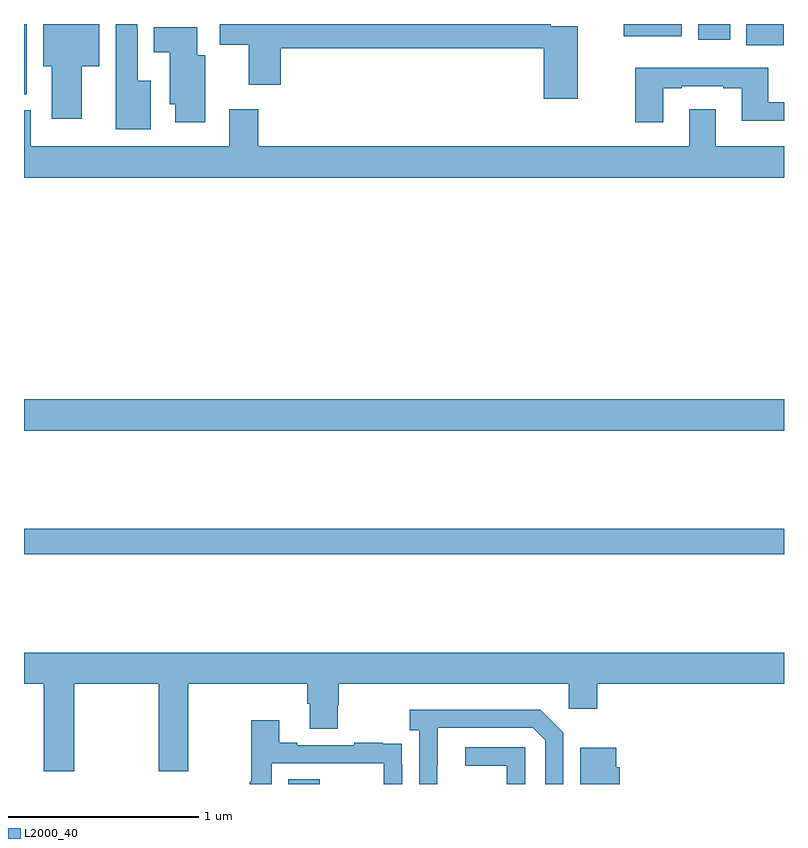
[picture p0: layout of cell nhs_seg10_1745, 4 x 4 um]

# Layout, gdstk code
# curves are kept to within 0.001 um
import gdstk
lib = gdstk.Library(unit=1e-6, precision=1e-09)
def R(c, l, rs):  # rectangles x0, y0, x1, y1
    for r in rs: c.add(gdstk.rectangle(r[:2], r[2:], *l))
def P(c, l, *ps):  # polygons
    for p in ps: c.add(gdstk.Polygon(p, *l))
L2000_40 = (2000, 40)

nhs_seg10_1745 = lib.new_cell('nhs_seg10_1745')
R(nhs_seg10_1745, L2000_40, [(204.392,1254.5,204.556,1254.524), (203,1255.708,207,1255.844), (203,1256.36,207,1256.524), (203,1258.13,203.014,1258.5), (206.801,1258.388,206.998,1258.5), (206.549,1258.416,206.716,1258.5), (206.156,1258.436,206.461,1258.5)])
P(nhs_seg10_1745, L2000_40, [(205.914,1258.488),(205.772,1258.488),(205.772,1258.5),(204.03,1258.5),(204.03,1258.39),(204.182,1258.39),(204.182,1258.179),(204.35,1258.179),(204.35,1258.372),(205.736,1258.372),(205.736,1258.107),(205.914,1258.107)],
  [(203.305,1258.277),(203.395,1258.277),(203.395,1258.5),(203.102,1258.5),(203.102,1258.277),(203.147,1258.277),(203.147,1258.002),(203.305,1258.002)],
  [(203.668,1258.201),(203.599,1258.201),(203.599,1258.475),(203.595,1258.475),(203.595,1258.5),(203.483,1258.5),(203.483,1257.947),(203.668,1257.947)],
  [(203.953,1258.336),(203.911,1258.336),(203.911,1258.483),(203.684,1258.483),(203.684,1258.352),(203.768,1258.352),(203.768,1258.077),(203.795,1258.077),(203.795,1257.984),(203.953,1257.984)],
  [(206.365,1258.161),(206.461,1258.161),(206.461,1258.173),(206.681,1258.173),(206.681,1258.161),(206.777,1258.161),(206.777,1257.992),(207,1257.992),(207,1258.089),(206.917,1258.089),(206.917,1258.27),(206.218,1258.27),(206.218,1257.984),(206.365,1257.984)],
  [(207,1257.856),(206.641,1257.856),(206.641,1258.051),(206.501,1258.051),(206.501,1257.856),(204.233,1257.856),(204.233,1258.051),(204.08,1258.051),(204.08,1257.856),(203.035,1257.856),(203.035,1258.045),(203,1258.045),(203,1257.692),(207,1257.692)],
  [(203,1255.028),(203.105,1255.028),(203.105,1254.567),(203.265,1254.567),(203.265,1255.028),(203.71,1255.028),(203.71,1254.567),(203.865,1254.567),(203.865,1255.028),(204.491,1255.028),(204.491,1254.922),(204.503,1254.922),(204.503,1254.79),(204.651,1254.79),(204.651,1254.915),(204.656,1254.915),(204.656,1255.028),(205.866,1255.028),(205.866,1254.897),(206.018,1254.897),(206.018,1255.028),(207,1255.028),(207,1255.192),(203,1255.192)],
  [(205.176,1254.595),(205.177,1254.795),(205.677,1254.795),(205.743,1254.729),(205.743,1254.5),(205.839,1254.5),(205.839,1254.771),(205.718,1254.892),(205.029,1254.892),(205.029,1254.782),(205.08,1254.782),(205.08,1254.5),(205.176,1254.5)],
  [(204.303,1254.609),(204.894,1254.609),(204.894,1254.5),(204.99,1254.5),(204.99,1254.602),(204.989,1254.602),(204.989,1254.711),(204.887,1254.711),(204.887,1254.718),(204.739,1254.718),(204.739,1254.705),(204.439,1254.705),(204.439,1254.718),(204.343,1254.718),(204.343,1254.835),(204.195,1254.835),(204.195,1254.512),(204.187,1254.512),(204.187,1254.5),(204.303,1254.5)],
  [(205.638,1254.693),(205.323,1254.693),(205.323,1254.597),(205.542,1254.597),(205.542,1254.5),(205.638,1254.5)],
  [(206.135,1254.587),(206.116,1254.587),(206.116,1254.691),(205.928,1254.691),(205.928,1254.5),(206.135,1254.5)])

lib.write_gds('nhs_seg10_1745.gds')
